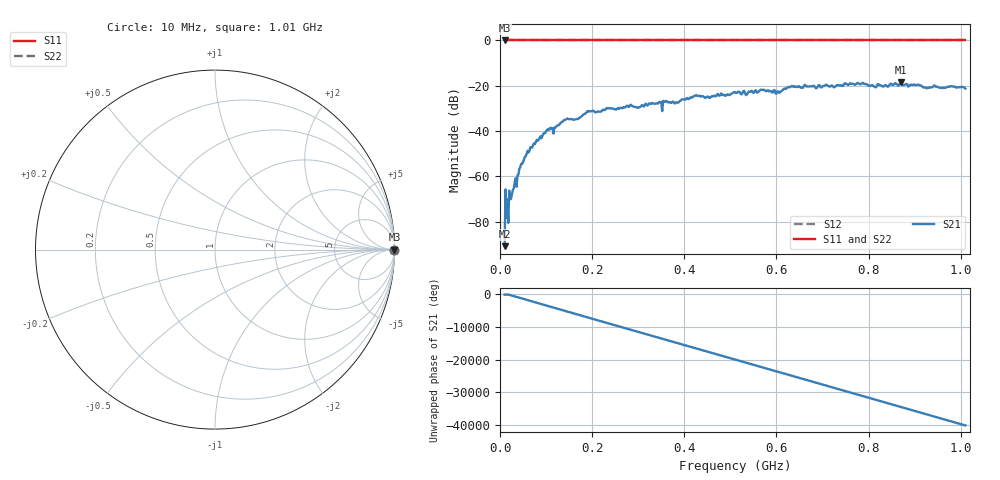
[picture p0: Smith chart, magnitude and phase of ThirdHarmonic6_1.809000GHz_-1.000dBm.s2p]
! 8/16/2025 9:54:47 PM
! C:\ANRITSUVNA\TEMP\TEMP.S2P
! CHANNEL.1
! TR.MEASUREMENT
! RAW.DATA
! RF.CORRECTION.OFF
! AVERAGING.OFF
! IF.BANDWIDTH: 5KHZ
! SWEEPTYPE:  FREQ.SWEEP(Linear)
! Reference Plane Port Info
! PORT:  PORT1  PORT2
! DISTANCE:  0  m  0  m
! TIME:  0  s  0  s
! PHASE.OFFSET:  0  deg.  0  deg.
! LOSS:  0  dB  0  dB
! REF.LOSS:  0  dB  0  dB
! REF.FREQ:  0  Hz  0  Hz
! Power Info
! POWER:  -20  dBm  -20  dBm
! EFF.POWER:  -20  dBm  -20  dBm
! SOURCE.ATTEN:  0  dB  0  dB
! TEST.ATTEN:  0  dB  0  dB
# GHZ S RI R 50.0
! FREQ.GHZ  S11RE  S11IM  S21RE  S21IM  S12RE  S12IM  S22RE  S22IM
!; PortSelection: Port_12
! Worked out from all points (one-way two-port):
!   501 points, 10 MHz to 1.01 GHz, reference 50 ohm
!   highest |S21| = -18.42 dB at 870 MHz (marker M1); lowest = -90.8 dB at 10 MHz (marker M2)
!   lowest |S11| = 0.0 dB at 10 MHz (marker M3)
!   |S11| at or under -10 dB: nowhere
!   |S22| runs from 0.0 to 0.0 dB; largest |S21 - S12| = 1.1
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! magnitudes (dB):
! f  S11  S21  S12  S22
! 10 MHz  0.0  -90.8  0.0  0.0
! 14 MHz  0.0  -78.3  0.0  0.0
! 16 MHz  0.0  -70.1  0.0  0.0
! 18 MHz  0.0  -80.5  0.0  0.0
! 22 MHz  0.0  -70.0  0.0  0.0
! 24 MHz  0.0  -69.9  0.0  0.0
! 46 MHz  0.0  -54.4  0.0  0.0
! 70 MHz  0.0  -47.2  0.0  0.0
! 106 MHz  0.0  -39.5  0.0  0.0
! 118 MHz  0.0  -38.5  0.0  0.0
! 142 MHz  0.0  -35.0  0.0  0.0
! 178 MHz  0.0  -33.4  0.0  0.0
! 194 MHz  0.0  -31.2  0.0  0.0
! 344 MHz  0.0  -27.6  0.0  0.0
! 510 MHz  0.0  -22.8  0.0  0.0
! 570 MHz  0.0  -21.8  0.0  0.0
! 602 MHz  0.0  -22.4  0.0  0.0
! 630 MHz  0.0  -20.6  0.0  0.0
! 678 MHz  0.0  -20.3  0.0  0.0
! 844 MHz  0.0  -20.0  0.0  0.0
! 870 MHz  0.0  -18.4  0.0  0.0
! 1.01 GHz  0.0  -21.2  0.0  0.0
